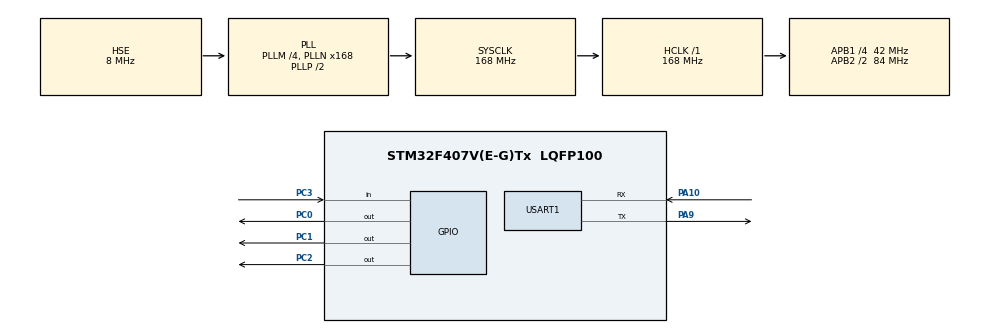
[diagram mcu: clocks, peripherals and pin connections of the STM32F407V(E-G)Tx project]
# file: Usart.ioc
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Mcu.Family=STM32F4
Mcu.Name=STM32F407V(E-G)Tx
Mcu.Package=LQFP100
NVIC.PriorityGroup=NVIC_PRIORITYGROUP_4
PA10.Mode=Asynchronous
PA10.Signal=USART1_RX
PA9.Mode=Asynchronous
PA9.Signal=USART1_TX
PC0.GPIO_ModeDefaultOutputPP=GPIO_MODE_OUTPUT_PP
PC0.GPIO_PuPd=GPIO_PULLUP
PC0.PinState=GPIO_PIN_SET
PC0.Signal=GPIO_Output
PC1.GPIO_ModeDefaultOutputPP=GPIO_MODE_OUTPUT_PP
PC1.GPIO_PuPd=GPIO_PULLUP
PC1.PinState=GPIO_PIN_SET
PC1.Signal=GPIO_Output
PC14-OSC32_IN.Mode=LSE-External-Oscillator
PC14-OSC32_IN.Signal=RCC_OSC32_IN
PC15-OSC32_OUT.Mode=LSE-External-Oscillator
PC15-OSC32_OUT.Signal=RCC_OSC32_OUT
PC2.GPIO_ModeDefaultOutputPP=GPIO_MODE_OUTPUT_PP
PC2.GPIO_PuPd=GPIO_PULLUP
PC2.PinState=GPIO_PIN_SET
PC2.Signal=GPIO_Output
PC3.GPIO_PuPd=GPIO_PULLUP
PC3.Signal=GPIO_Input
PH0-OSC_IN.Mode=HSE-External-Oscillator
PH0-OSC_IN.Signal=RCC_OSC_IN
PH1-OSC_OUT.Mode=HSE-External-Oscillator
PH1-OSC_OUT.Signal=RCC_OSC_OUT
ProjectManager.HeapSize=0x200
ProjectManager.StackSize=0x400
ProjectManager.TargetToolchain=MDK-ARM V5
RCC.48MHZClocksFreq_Value=84000000
RCC.AHBFreq_Value=168000000
RCC.APB1CLKDivider=RCC_HCLK_DIV4
RCC.APB1Freq_Value=42000000
RCC.APB1TimFreq_Value=84000000
RCC.APB2CLKDivider=RCC_HCLK_DIV2
RCC.APB2Freq_Value=84000000
RCC.APB2TimFreq_Value=168000000
RCC.CortexFreq_Value=168000000
RCC.HCLKFreq_Value=168000000
RCC.HSE_VALUE=8000000
RCC.HSI_VALUE=16000000
RCC.PLLM=4
RCC.PLLN=168
RCC.PLLSourceVirtual=RCC_PLLSOURCE_HSE
RCC.SYSCLKFreq_VALUE=168000000
RCC.SYSCLKSource=RCC_SYSCLKSOURCE_PLLCLK
RCC.VCOOutputFreq_Value=336000000
USART1.VirtualMode=VM_ASYNC
board=custom

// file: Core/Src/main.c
/* USER CODE BEGIN Header */
/**
  ******************************************************************************
  * @file           : main.c
  * @brief          : Main program body
  ******************************************************************************
  * @attention
  *
  * Copyright (c) 2025 STMicroelectronics.
  * All rights reserved.
  *
  * This software is licensed under terms that can be found in the LICENSE file
  * in the root directory of this software component.
  * If no LICENSE file comes with this software, it is provided AS-IS.
  *
  ******************************************************************************
  */
/* USER CODE END Header */
#include "main.h"
#include "usart.h"
#include "gpio.h"

/* USER CODE BEGIN Includes */
#include "stdio.h"
#include "ebtn.h"
#include "multiTimer.h"
#include "elog.h"
/* USER CODE END Includes */

/* USER CODE BEGIN PTD */
MultiTimer mt_led, mt_key;
/* USER CODE END PTD */

/* USER CODE BEGIN PD */
#define MT_KEY_TIME       5   // 按键扫描时间
/* USER CODE END PD */

/* USER CODE BEGIN PM */
typedef enum {
    USER_BUTTON_0 = 0,
    USER_BUTTON_MAX,
} user_button_t;
/* USER CODE END PM */

/* USER CODE BEGIN PV */
uint8_t current_color = 0; // 0=红, 1=绿, 2=蓝

/* 按键参数配置(消抖时间), 连击间隔时间(连击判断), 长按开始时间(长按判断), 长按间隔时间,
   长按保持时间, 长按结束时间, 长按保持间隔时间 */
static const ebtn_btn_param_t defaul_ebtn_param = EBTN_PARAMS_INIT(20, 0, 20, 300, 200, 1000, 5);

/* USER CODE END PV */

void SystemClock_Config(void);

/* USER CODE BEGIN 0 */
static ebtn_btn_t btns[] = {
    EBTN_BUTTON_INIT(USER_BUTTON_0, &defaul_ebtn_param),
};

uint64_t bsp_timer_tick(void)
{
    return (uint64_t)HAL_GetTick();
}

uint8_t prv_btn_get_state(struct ebtn_btn *btn)
{
    switch(btn->key_id) {
        case USER_BUTTON_0:
            return !HAL_GPIO_ReadPin(GPIOC, GPIO_PIN_3);
        default:
            return 0;
    }
}

void prv_btn_event(struct ebtn_btn *btn, ebtn_evt_t evt)
{
    // 按键K1
    if((btn->key_id == USER_BUTTON_0) && evt == EBTN_EVT_ONCLICK &&(ebtn_click_get_count(btn) == 1)) {
        HAL_GPIO_TogglePin(GPIOC, GPIO_PIN_0);
        elog_i("main", "Btn click");
    }
    else if((btn->key_id == USER_BUTTON_0) && (ebtn_click_get_count(btn) == 2)) {
        HAL_GPIO_TogglePin(GPIOC, GPIO_PIN_1);
        elog_i("main", "Btn Double click");
    }
    else if((btn->key_id == USER_BUTTON_0) && evt == EBTN_EVT_KEEPALIVE) {
        HAL_GPIO_TogglePin(GPIOC, GPIO_PIN_2);
        elog_i("main", "Btn Hold");
    }
}

void app_btn_init(void)
{
    ebtn_init(btns, EBTN_ARRAY_SIZE(btns), NULL, 0, prv_btn_get_state, prv_btn_event);
}

void mt_cb_key(MultiTimer* timer, void* userData)
{
    ebtn_process(HAL_GetTick());
    multiTimerStart(timer, MT_KEY_TIME, mt_cb_key, NULL);
}

/* USER CODE END 0 */

int main(void)
{

  /* USER CODE BEGIN 1 */
  multiTimerInstall(bsp_timer_tick);
  /* USER CODE END 1 */

  /* MCU Configuration--------------------------------------------------------*/

  /* Reset of all peripherals, Initializes the Flash interface and the Systick. */
  HAL_Init();

  /* Configure the system clock */
  SystemClock_Config();

  /* Initialize all configured peripherals */
  MX_GPIO_Init();
  MX_USART1_UART_Init();
  /* USER CODE BEGIN 2 */
  elog_init();
  elog_set_text_color_enabled(true);
  elog_set_fmt(ELOG_LVL_ASSERT, ELOG_FMT_ALL);
  elog_set_fmt(ELOG_LVL_ERROR, ELOG_FMT_LVL | ELOG_FMT_TAG);
  elog_set_fmt(ELOG_LVL_WARN, ELOG_FMT_LVL | ELOG_FMT_TAG);
  elog_set_fmt(ELOG_LVL_INFO, ELOG_FMT_LVL | ELOG_FMT_TAG);
  elog_set_fmt(ELOG_LVL_DEBUG, ELOG_FMT_ALL & ~(ELOG_FMT_TIME | ELOG_FMT_P_INFO | ELOG_FMT_T_INFO));
  elog_set_fmt(ELOG_LVL_VERBOSE, ELOG_FMT_ALL);
  elog_start();
  /* USER CODE END 2 */

  /* Infinite loop */
  /* USER CODE BEGIN WHILE */
  app_btn_init();
  multiTimerStart(&mt_key,     MT_KEY_TIME,     mt_cb_key,        NULL);
  while (1)
  {
    /* USER CODE END WHILE */

    /* USER CODE BEGIN 3 */
    multiTimerYield();
  }
  /* USER CODE END 3 */
}

void SystemClock_Config(void)
{
  RCC_OscInitTypeDef RCC_OscInitStruct = {0};
  RCC_ClkInitTypeDef RCC_ClkInitStruct = {0};

  /** Configure the main internal regulator output voltage
  */
  __HAL_RCC_PWR_CLK_ENABLE();
  __HAL_PWR_VOLTAGESCALING_CONFIG(PWR_REGULATOR_VOLTAGE_SCALE1);

  /** Initializes the RCC Oscillators according to the specified parameters
  * in the RCC_OscInitTypeDef structure.
  */
  RCC_OscInitStruct.OscillatorType = RCC_OSCILLATORTYPE_HSE;
  RCC_OscInitStruct.HSEState = RCC_HSE_ON;
  RCC_OscInitStruct.PLL.PLLState = RCC_PLL_ON;
  RCC_OscInitStruct.PLL.PLLSource = RCC_PLLSOURCE_HSE;
  RCC_OscInitStruct.PLL.PLLM = 4;
  RCC_OscInitStruct.PLL.PLLN = 168;
  RCC_OscInitStruct.PLL.PLLP = RCC_PLLP_DIV2;
  RCC_OscInitStruct.PLL.PLLQ = 4;
  if (HAL_RCC_OscConfig(&RCC_OscInitStruct) != HAL_OK)
  {
    Error_Handler();
  }

  /** Initializes the CPU, AHB and APB buses clocks
  */
  RCC_ClkInitStruct.ClockType = RCC_CLOCKTYPE_HCLK|RCC_CLOCKTYPE_SYSCLK
                              |RCC_CLOCKTYPE_PCLK1|RCC_CLOCKTYPE_PCLK2;
  RCC_ClkInitStruct.SYSCLKSource = RCC_SYSCLKSOURCE_PLLCLK;
  RCC_ClkInitStruct.AHBCLKDivider = RCC_SYSCLK_DIV1;
  RCC_ClkInitStruct.APB1CLKDivider = RCC_HCLK_DIV4;
  RCC_ClkInitStruct.APB2CLKDivider = RCC_HCLK_DIV2;

  if (HAL_RCC_ClockConfig(&RCC_ClkInitStruct, FLASH_LATENCY_5) != HAL_OK)
  {
    Error_Handler();
  }
}

/* USER CODE BEGIN 4 */
#ifdef __GNUC__
#define PUTCHAR_PROTOTYPE int __io_putchar(int ch)
#else
#define PUTCHAR_PROTOTYPE int fputc(int ch, FILE *f)
#endif

// Redirect printf to UART
PUTCHAR_PROTOTYPE
{
    HAL_UART_Transmit(&huart1, (uint8_t *)&ch, 1, HAL_MAX_DELAY);
    return ch;
}
/* USER CODE END 4 */

void Error_Handler(void)
{
  __disable_irq();
  while (1)
  {
  }
}
